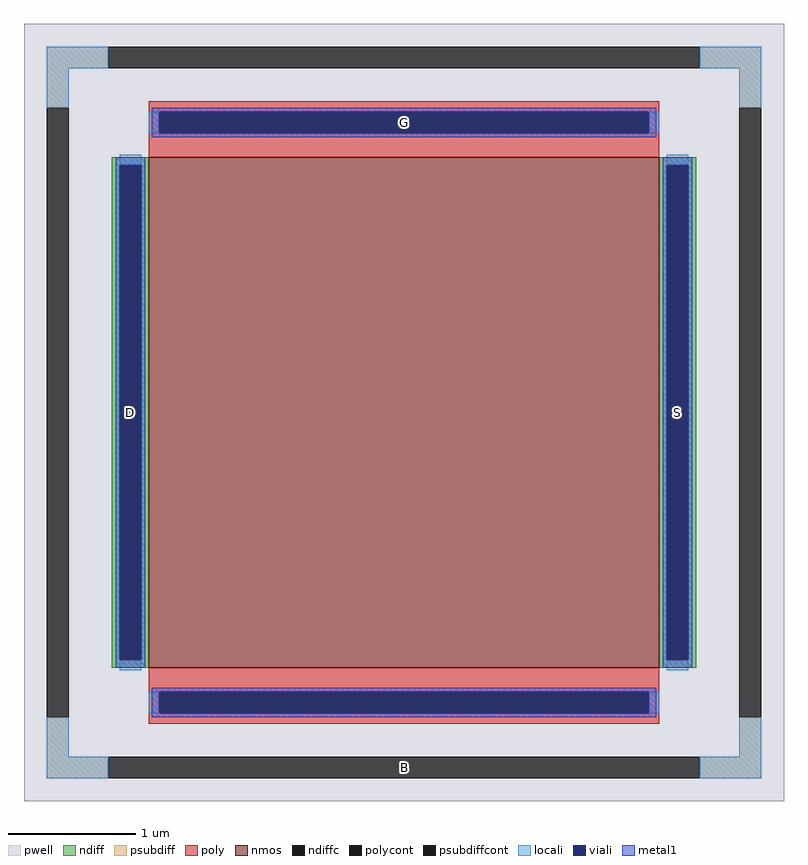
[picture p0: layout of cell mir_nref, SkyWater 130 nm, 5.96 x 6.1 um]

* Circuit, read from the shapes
.subckt mir_nref B D S G
XM1 S G D B sky130_fd_pr__nfet_01v8 w=4 l=4
.ends

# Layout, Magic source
magic
tech sky130A
magscale 1 2
<< pwell >>
rect -596 -610 596 610
<< nmos >>
rect -400 -400 400 400
<< ndiff >>
rect -458 388 -400 400
rect -458 -388 -446 388
rect -412 -388 -400 388
rect -458 -400 -400 -388
rect 400 388 458 400
rect 400 -388 412 388
rect 446 -388 458 388
rect 400 -400 458 -388
<< ndiffc >>
rect -446 -388 -412 388
rect 412 -388 446 388
<< psubdiff >>
rect -560 540 -464 574
rect 464 540 560 574
rect -560 478 -526 540
rect 526 478 560 540
rect -560 -540 -526 -478
rect 526 -540 560 -478
rect -560 -574 -464 -540
rect 464 -574 560 -540
<< psubdiffcont >>
rect -464 540 464 574
rect -560 -478 -526 478
rect 526 -478 560 478
rect -464 -574 464 -540
<< poly >>
rect -400 472 400 488
rect -400 438 -384 472
rect 384 438 400 472
rect -400 400 400 438
rect -400 -438 400 -400
rect -400 -472 -384 -438
rect 384 -472 400 -438
rect -400 -488 400 -472
<< polycont >>
rect -384 438 384 472
rect -384 -472 384 -438
<< locali >>
rect -560 540 -464 574
rect 464 540 560 574
rect -560 478 -526 540
rect 526 478 560 540
rect -400 438 -384 472
rect 384 438 400 472
rect -446 388 -412 404
rect -446 -404 -412 -388
rect 412 388 446 404
rect 412 -404 446 -388
rect -400 -472 -384 -438
rect 384 -472 400 -438
rect -560 -540 -526 -478
rect 526 -540 560 -478
rect -560 -574 -464 -540
rect 464 -574 560 -540
<< viali >>
rect -384 438 384 472
rect -446 -388 -412 388
rect 412 -388 446 388
rect -384 -472 384 -438
<< metal1 >>
rect -396 472 396 478
rect -396 438 -384 472
rect 384 438 396 472
rect -396 432 396 438
rect -452 388 -406 400
rect -452 -388 -446 388
rect -412 -388 -406 388
rect -452 -400 -406 -388
rect 406 388 452 400
rect 406 -388 412 388
rect 446 -388 452 388
rect 406 -400 452 -388
rect -396 -438 396 -432
rect -396 -472 -384 -438
rect 384 -472 396 -438
rect -396 -478 396 -472
<< labels >>
rlabel psubdiffcont 0 -557 0 -557 0 B
port 1 nsew
rlabel ndiffc -429 0 -429 0 0 D
port 2 nsew
rlabel ndiffc 429 0 429 0 0 S
port 3 nsew
rlabel polycont 0 455 0 455 0 G
port 4 nsew
<< properties >>
string FIXED_BBOX -543 -557 543 557
<< end >>
